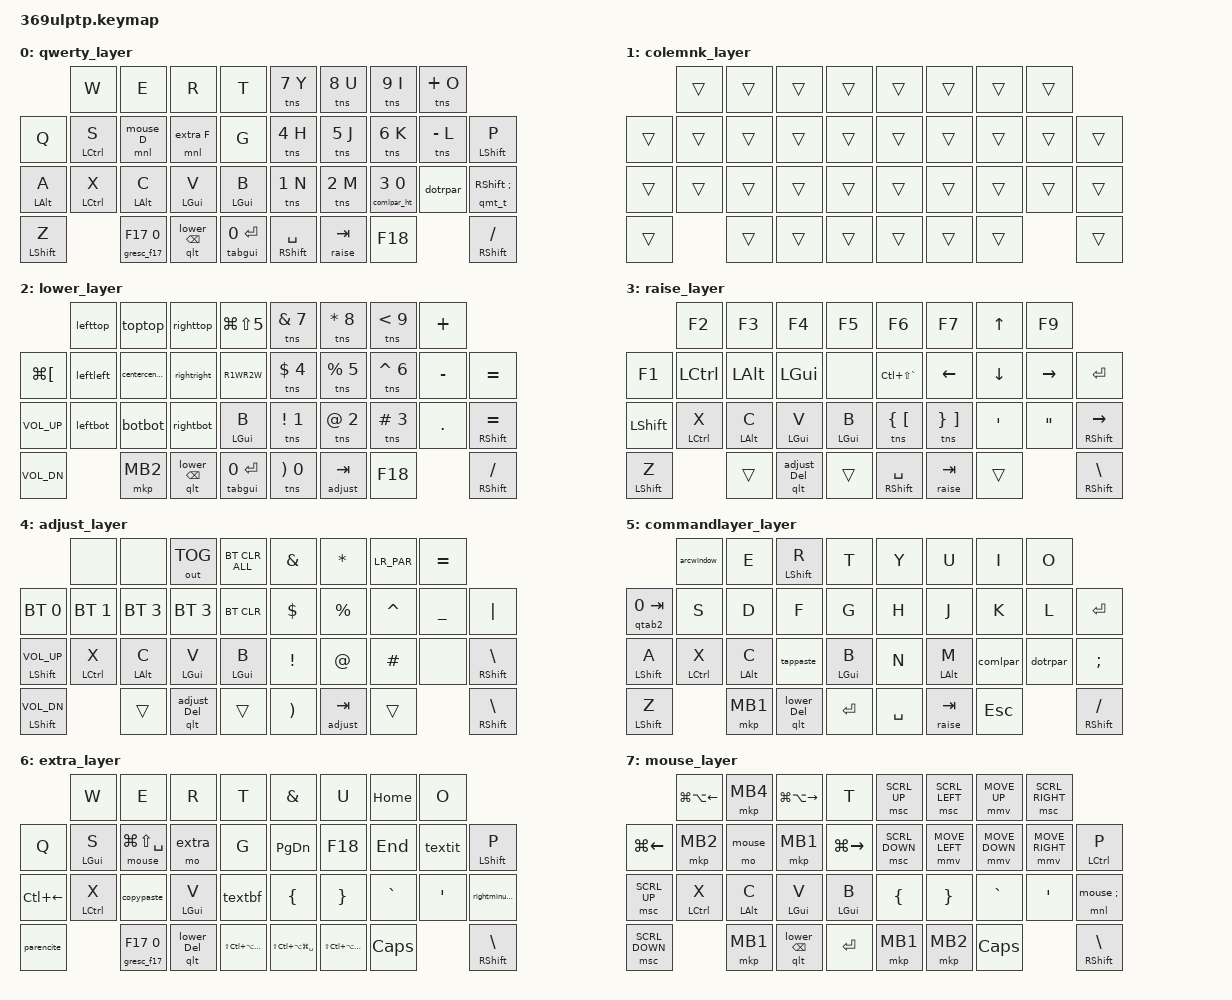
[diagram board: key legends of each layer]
/*
 * Copyright (c) 2020 The ZMK Contributors
 *;
 * SPDX-License-Identifier: MIT

west build -d build/369ulptp_l -p -b xiao_ble//zmk -- -DSHIELD=369ulptp_left 
west build -d build/369ulptp_r -p -b xiao_ble//zmk -- -DSHIELD=369ulptp_right 

west build -d build/369ulptp_l -p -b xiao_ble//zmk -- -DSHIELD=369ulptp_left -DZMK_EXTRA_MODULES="/workspaces/zmk/app/cirque-input-module-main"
west build -d build/369ulptp_r -p -b xiao_ble//zmk -- -DSHIELD=369ulptp_right -DZMK_EXTRA_MODULES="/workspaces/zmk/app/cirque-input-module-main"
west build -d build/369ulptp_tp -p -b xiao_ble//zmk -- -DSHIELD=369ulptp_tp -DZMK_EXTRA_MODULES="/workspaces/zmk/app/cirque-input-module-main"
west build -d build/xiao_ble_reset -p -b xiao_ble//zmk -- -DSHIELD=settings_reset

west build -d build/369ulptp_l -p -b xiao_ble//zmk -- -DSHIELD=369ulptp_left 
west build -d build/369ulptp_r -p -b xiao_ble//zmk -- -DSHIELD=369ulptp_right

docker cp naughty_cohen:/workspaces/zmk/app/build/369ulptp_l/zephyr/zmk.uf2 "/Users/song100/Library/Mobile Documents/com~apple~CloudDocs/Keyboard/36firmware/369ulptp_left.uf2"
docker cp naughty_cohen:/workspaces/zmk/app/build/369ulptp_r/zephyr/zmk.uf2 "/Users/song100/Library/Mobile Documents/com~apple~CloudDocs/Keyboard/36firmware/369ulptp_right.uf2"
docker cp naughty_cohen:/workspaces/zmk/app/build/369ulptp_tp/zephyr/zmk.uf2 "/Users/song100/Library/Mobile Documents/com~apple~CloudDocs/Keyboard/36firmware/369ulptp_tp.uf2"
docker cp naughty_cohen:/workspaces/zmk/app/build/xiao_ble_reset/zephyr/zmk.uf2 "/Users/song100/Library/Mobile Documents/com~apple~CloudDocs/Keyboard/36firmware/369ulptp_reset.uf2"
 */

// Macros, behaviors, combos, and global settings are in:
#include "../369p/369p_behaviors.dtsi"

// ------------------------------------------------------------------
// Keymap layers
// ------------------------------------------------------------------
/{
    keymap {
        compatible = "zmk,keymap";

        qwerty_layer {
            bindings = <
                    &kp W           &kp E               &kp R               &kp T           &tns N7 Y         &tns N8 U         &tns N9 I     &tns PLUS O
    &kp Q           &bhm LCTL S           &mnl mouse D    &mnl extra F        &kp G               &tns N4 H         &tns N5 J         &tns N6 K     &tns MINUS L         &bhm LSHFT P
    &bhm LALT A           &bhm LCTRL X    &bhm LALT C         &bhm LGUI V         &bhm LGUI B     &tns N1 N         &tns N2 M         &comlpar_ht N3 0      &dotrpar            &qmt_t RSHFT SEMI
    &bhm LSHFT Z                    &gresc_f17 F17 0    &qlt lower BSPC     &tabgui 0 RET   &bhm RSHFT SPACE    &lt raise TAB       &kp F18                             &mt RSHFT FSLH
                >;
        };
        colemnk_layer {
            bindings = <
                    &trans          &trans              &trans              &trans          &trans              &trans              &trans          &trans
    &trans          &trans          &trans              &trans              &trans          &trans              &trans              &trans          &trans              &trans
    &trans          &trans          &trans              &trans              &trans          &trans              &trans              &trans          &trans              &trans
    &trans                          &trans              &trans              &trans          &trans              &trans              &trans                              &trans
            >;
        };
        lower_layer {
            bindings = <
                    &lefttop        &toptop             &righttop           &kp LG(LS(N5))  &tns AMPS N7        &tns ASTRK N8       &tns LT N9      &kp PLUS
    &kp LG(LBKT)    &leftleft       &centercenter       &rightright         &R1WR2W         &tns DLLR N4        &tns PRCNT N5       &tns CARET N6   &kp MINUS           &kp EQUAL
    &kp C_VOL_UP    &leftbot        &botbot             &rightbot           &bhm LGUI B     &tns EXCL N1        &tns AT N2          &tns POUND N3   &kp DOT             &mt RSHFT EQUAL
    &kp C_VOL_DN                    &mkp MB2            &qlt lower BSPC     &tabgui 0 RET   &tns RPAR N0        &lt adjust TAB      &kp F18                             &mt RSHFT FSLH
    >;
        };
        raise_layer {
            bindings = <
                    &kp F2          &kp F3              &kp F4              &kp F5          &kp F6              &kp F7              &kp UP          &kp F9
    &kp F1          &kp LCTL        &kp LALT            &kp LGUI            &none           &kp LC(LS(GRAVE))     &kp LEFT            &kp DOWN        &kp RIGHT           &kp RET
    &kp LSHFT       &bhm LCTRL X    &bhm LALT C         &bhm LGUI V         &bhm LGUI B     &tns LBRC LBKT      &tns RBRC RBKT      &kp SQT         &kp DQT             &mt RSHFT RIGHT
    &bhm LSHFT Z                    &trans              &qlt adjust DEL     &trans          &bhm RSHFT SPACE    &lt raise TAB       &trans                              &mt RSHFT BSLH
    >;
        };
        adjust_layer {
            bindings = <
                    &none           &none               &out OUT_TOG        &bt BT_CLR_ALL  &kp AMPS            &kp ASTRK           &LR_PAR         &kp EQUAL
    &bt BT_SEL 0    &bt BT_SEL 1    &bt BT_SEL 3        &bt BT_SEL 3        &bt BT_CLR      &kp DLLR            &kp PRCNT           &kp CARET       &kp UNDER           &kp PIPE
    &bhm LSHFT C_VOL_UP &bhm LCTRL X &bhm LALT C        &bhm LGUI V         &bhm LGUI B     &kp EXCL            &kp AT              &kp POUND       &none               &mt RSHFT BSLH
    &bhm LSHFT C_VOL_DN             &trans              &qlt adjust DEL     &trans          &kp RPAR            &lt adjust TAB      &trans                              &mt RSHFT BSLH
    >;
        };
        commandlayer_layer {
            bindings = <
                    &arcwindow      &kp E               &bhm LSHFT R        &kp T           &kp Y               &kp U               &kp I           &kp O
    &qtab2 0 TAB    &kp S           &kp D               &kp F               &kp G           &kp H               &kp J               &kp K           &kp L               &kp RET
    &bhm LSHFT A    &bhm LCTRL X    &bhm LALT C         &tappaste           &bhm LGUI B     &kp N               &bhm LALT M         &comlpar        &dotrpar            &kp SEMI
    &bhm LSHFT Z                    &mkp MB1            &qlt lower DEL      &kp RET         &kp SPACE           &lt raise TAB       &kp ESC                             &mt RSHFT FSLH
    >;
        };
        extra_layer {
            bindings = <
                    &kp W           &kp E               &kp R               &kp T           &kp AMPS            &kp U               &kp HOME           &kp O
    &kp Q           &bhm LGUI S     &mt mouse LG(LS(SPACE)) &mo extra       &kp G           &kp PG_DN           &kp F18             &kp END           &textit             &bhm LSHFT P
    &kp LC(LEFT)    &bhm LCTRL X    &copypaste          &bhm LGUI V         &textbf         &kp LBRC            &kp RBRC            &kp GRAVE       &kp SQT             &rightminusgt
    &parencite                      &gresc_f17 F17 0      &qlt lower DEL      &kp LS(LC(LA(LG(RET)))) &kp LS(LC(LA(LG(SPACE)))) &kp LS(LC(LA(LG(TAB)))) &kp CAPS         &mt RSHFT BSLH
                >;
        };
        mouse_layer {
            bindings = <
                    &kp LG(LA(LEFT)) &mkp MB4           &kp LG(LA(RIGHT))   &kp T           &msc SCRL_UP        &msc SCRL_LEFT      &mmv MOVE_UP    &msc SCRL_RIGHT
    &kp LG(LEFT)    &mkp MB2        &mo mouse           &mkp MB1            &kp LG(RIGHT)   &msc SCRL_DOWN      &mmv MOVE_LEFT      &mmv MOVE_DOWN  &mmv MOVE_RIGHT     &bhm LCTL P
    &msc SCRL_UP    &bhm LCTRL X    &bhm LALT C         &bhm LGUI V         &bhm LGUI B     &kp LBRC            &kp RBRC            &kp GRAVE       &kp SQT             &mnl mouse SEMI
    &msc SCRL_DOWN                  &mkp MB1            &qlt lower BSPC     &kp RET         &mkp MB1            &mkp MB2            &kp CAPS                            &mt RSHFT BSLH
                >;
        };
    };
};
